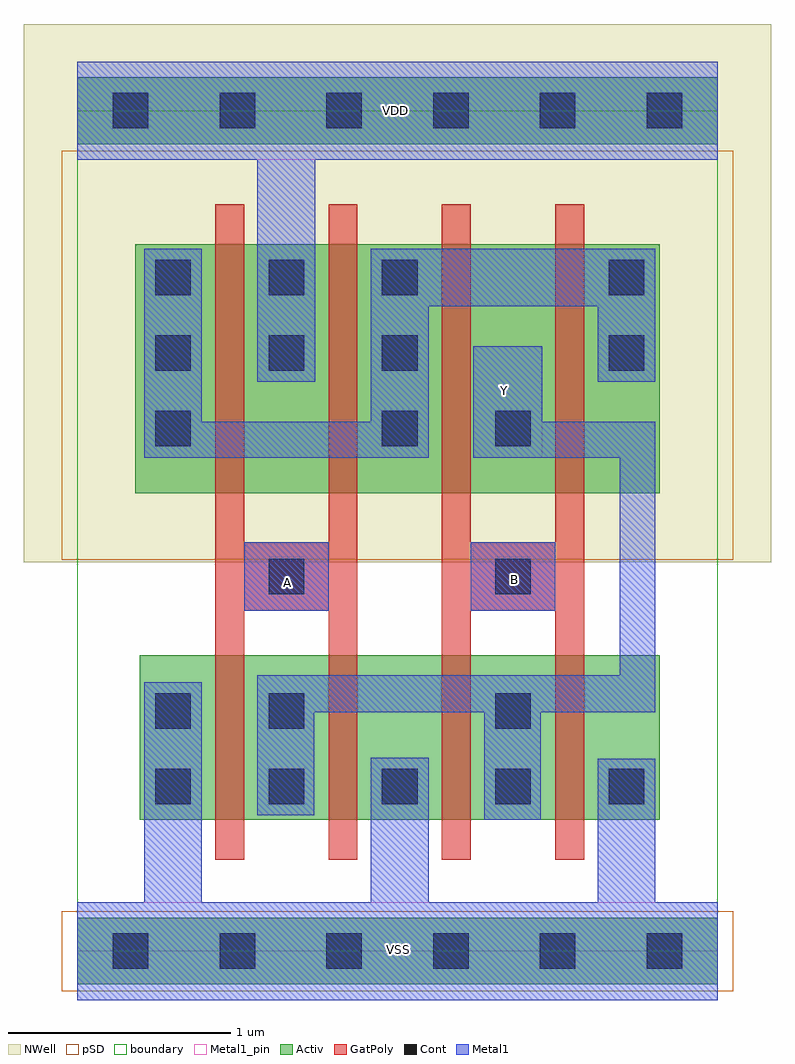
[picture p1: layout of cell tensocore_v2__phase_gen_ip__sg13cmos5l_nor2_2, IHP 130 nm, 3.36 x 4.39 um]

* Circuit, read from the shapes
.subckt tensocore_v2__phase_gen_ip__sg13cmos5l_nor2_2 A B VDD VSS Y
XM1 Y A VSS VSS sg13_lv_nmos w=0.74u l=0.13u m=2
XM2 Y B VSS VSS sg13_lv_nmos w=0.74u l=0.13u m=2
XM3 VDD A n1 VDD sg13_lv_pmos w=1.12u l=0.13u m=2
XM4 Y B n1 VDD sg13_lv_pmos w=1.12u l=0.13u m=2
.ends

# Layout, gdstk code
import gdstk
lib = gdstk.Library(unit=1e-6, precision=1e-09)
def R(c, l, rs):  # rectangles x0, y0, x1, y1
    for r in rs: c.add(gdstk.rectangle(r[:2], r[2:], *l))
def A(c, l, x, y, w, h, nx, ny, dx, dy):  # array of equal rectangles
    R(c, l, [(x+i*dx, y+j*dy, x+i*dx+w, y+j*dy+h) for i in range(nx) for j in range(ny)])
def P(c, l, *ps):  # polygons
    for p in ps: c.add(gdstk.Polygon(p, *l))
Activ = (1, 0)
GatPoly = (5, 0)
Cont = (6, 0)
Metal1 = (8, 0)
Metal1_pin = (8, 2)
pSD = (14, 0)
NWell = (31, 0)
boundary = (189, 4)

tensocore_v2__phase_gen_ = lib.new_cell('tensocore_v2__phase_gen_ip__sg13cmos5l_nor2_2')
R(tensocore_v2__phase_gen_, Activ, [(0,-0.15,2.88,0.15), (0.28,0.59,2.62,1.33), (0.26,2.06,2.62,3.18), (0,3.63,2.88,3.93)])
P(tensocore_v2__phase_gen_, GatPoly, [(0.62,0.41),(0.62,3.36),(0.75,3.36),(0.75,1.84),(1.13,1.84),(1.13,3.36),(1.26,3.36),(1.26,0.41),(1.13,0.41),(1.13,1.53),(0.75,1.53),(0.75,0.41)],
  [(1.64,0.41),(1.64,3.36),(1.77,3.36),(1.77,1.84),(2.15,1.84),(2.15,3.36),(2.28,3.36),(2.28,0.41),(2.15,0.41),(2.15,1.53),(1.77,1.53),(1.77,0.41)])
A(tensocore_v2__phase_gen_, Cont, 0.35, 2.61, 0.16, 0.16, 3, 1, 0.51, 0)
R(tensocore_v2__phase_gen_, Cont, [(0.16,-0.08,0.32,0.08), (0.16,-0.08,0.32,0.08), (0.16,-0.08,0.32,0.08), (0.16,-0.08,0.32,0.08), (0.64,-0.08,0.8,0.08), (0.64,-0.08,0.8,0.08), (0.64,-0.08,0.8,0.08), (0.64,-0.08,0.8,0.08), (1.12,-0.08,1.28,0.08), (1.12,-0.08,1.28,0.08), (1.12,-0.08,1.28,0.08), (1.12,-0.08,1.28,0.08), (1.6,-0.08,1.76,0.08), (1.6,-0.08,1.76,0.08), (1.6,-0.08,1.76,0.08), (1.6,-0.08,1.76,0.08), (2.08,-0.08,2.24,0.08), (2.08,-0.08,2.24,0.08), (2.08,-0.08,2.24,0.08), (2.08,-0.08,2.24,0.08), (2.56,-0.08,2.72,0.08), (2.56,-0.08,2.72,0.08), (2.56,-0.08,2.72,0.08), (2.56,-0.08,2.72,0.08), (0.35,0.66,0.51,0.82), (0.35,0.66,0.51,0.82), (0.35,0.66,0.51,0.82), (0.86,0.66,1.02,0.82), (0.86,0.66,1.02,0.82), (1.37,0.66,1.53,0.82), (1.37,0.66,1.53,0.82), (1.37,0.66,1.53,0.82), (1.88,0.66,2.04,0.82), (1.88,0.66,2.04,0.82), (2.39,0.66,2.55,0.82), (2.39,0.66,2.55,0.82), (2.39,0.66,2.55,0.82), (0.35,1,0.51,1.16), (0.86,1,1.02,1.16), (1.88,1,2.04,1.16), (0.86,1.605,1.02,1.765), (0.86,1.605,1.02,1.765), (0.86,1.605,1.02,1.765), (1.88,1.605,2.04,1.765), (1.88,1.605,2.04,1.765), (1.88,1.605,2.04,1.765), (0.35,2.27,0.51,2.43), (1.37,2.27,1.53,2.43), (1.88,2.27,2.04,2.43), (2.39,2.61,2.55,2.77), (0.35,2.95,0.51,3.11), (0.35,2.95,0.51,3.11), (0.35,2.95,0.51,3.11), (0.86,2.95,1.02,3.11), (0.86,2.95,1.02,3.11), (0.86,2.95,1.02,3.11), (1.37,2.95,1.53,3.11), (1.37,2.95,1.53,3.11), (1.37,2.95,1.53,3.11), (2.39,2.95,2.55,3.11), (2.39,2.95,2.55,3.11), (2.39,2.95,2.55,3.11), (0.16,3.7,0.32,3.86), (0.16,3.7,0.32,3.86), (0.16,3.7,0.32,3.86), (0.16,3.7,0.32,3.86), (0.64,3.7,0.8,3.86), (0.64,3.7,0.8,3.86), (0.64,3.7,0.8,3.86), (0.64,3.7,0.8,3.86), (1.12,3.7,1.28,3.86), (1.12,3.7,1.28,3.86), (1.12,3.7,1.28,3.86), (1.12,3.7,1.28,3.86), (1.6,3.7,1.76,3.86), (1.6,3.7,1.76,3.86), (1.6,3.7,1.76,3.86), (1.6,3.7,1.76,3.86), (2.08,3.7,2.24,3.86), (2.08,3.7,2.24,3.86), (2.08,3.7,2.24,3.86), (2.08,3.7,2.24,3.86), (2.56,3.7,2.72,3.86), (2.56,3.7,2.72,3.86), (2.56,3.7,2.72,3.86), (2.56,3.7,2.72,3.86)])
R(tensocore_v2__phase_gen_, Metal1, [(0.75,1.53,1.13,1.84), (1.77,1.53,2.15,1.84)])
P(tensocore_v2__phase_gen_, Metal1, [(0,-0.22),(0,0.22),(0.3,0.22),(0.3,1.21),(0.56,1.21),(0.56,0.22),(1.32,0.22),(1.32,0.87),(1.58,0.87),(1.58,0.22),(2.34,0.22),(2.34,0.865),(2.6,0.865),(2.6,0.22),(2.88,0.22),(2.88,-0.22)],
  [(0.81,2.56),(0.81,3.56),(0,3.56),(0,4),(2.88,4),(2.88,3.56),(1.07,3.56),(1.07,2.56)],
  [(0.3,2.22),(0.3,3.16),(0.56,3.16),(0.56,2.38),(1.32,2.38),(1.32,3.16),(2.6,3.16),(2.6,2.56),(2.34,2.56),(2.34,2.9),(1.58,2.9),(1.58,2.22)],
  [(1.83,0.59),(1.83,1.075),(1.065,1.075),(1.065,0.61),(0.81,0.61),(0.81,1.24),(2.44,1.24),(2.44,2.22),(1.78,2.22),(1.78,2.72),(2.09,2.72),(2.09,2.38),(2.6,2.38),(2.6,1.075),(2.085,1.075),(2.085,0.59)])
R(tensocore_v2__phase_gen_, Metal1_pin, [(0,-0.22,2.88,0.22), (0.75,1.53,1.13,1.84), (1.77,1.53,2.15,1.84), (1.78,2.22,2.09,2.72), (0,3.56,2.88,4)])
R(tensocore_v2__phase_gen_, pSD, [(-0.07,-0.18,2.95,0.18), (-0.07,1.76,2.95,3.6)])
R(tensocore_v2__phase_gen_, NWell, [(-0.24,1.75,3.12,4.17)])
R(tensocore_v2__phase_gen_, boundary, [(0,0,2.88,3.78)])
tensocore_v2__phase_gen_.add(gdstk.Label('B', (1.965,1.67), layer=8, texttype=25))
tensocore_v2__phase_gen_.add(gdstk.Label('VSS', (1.445,0.005), layer=8, texttype=25))
tensocore_v2__phase_gen_.add(gdstk.Label('Y', (1.92,2.52), layer=8, texttype=25))
tensocore_v2__phase_gen_.add(gdstk.Label('VDD', (1.43,3.78), layer=8, texttype=25))
tensocore_v2__phase_gen_.add(gdstk.Label('A', (0.945,1.66), layer=8, texttype=25))

lib.write_gds('tensocore_v2__phase_gen_ip__sg13cmos5l_nor2_2.gds')
